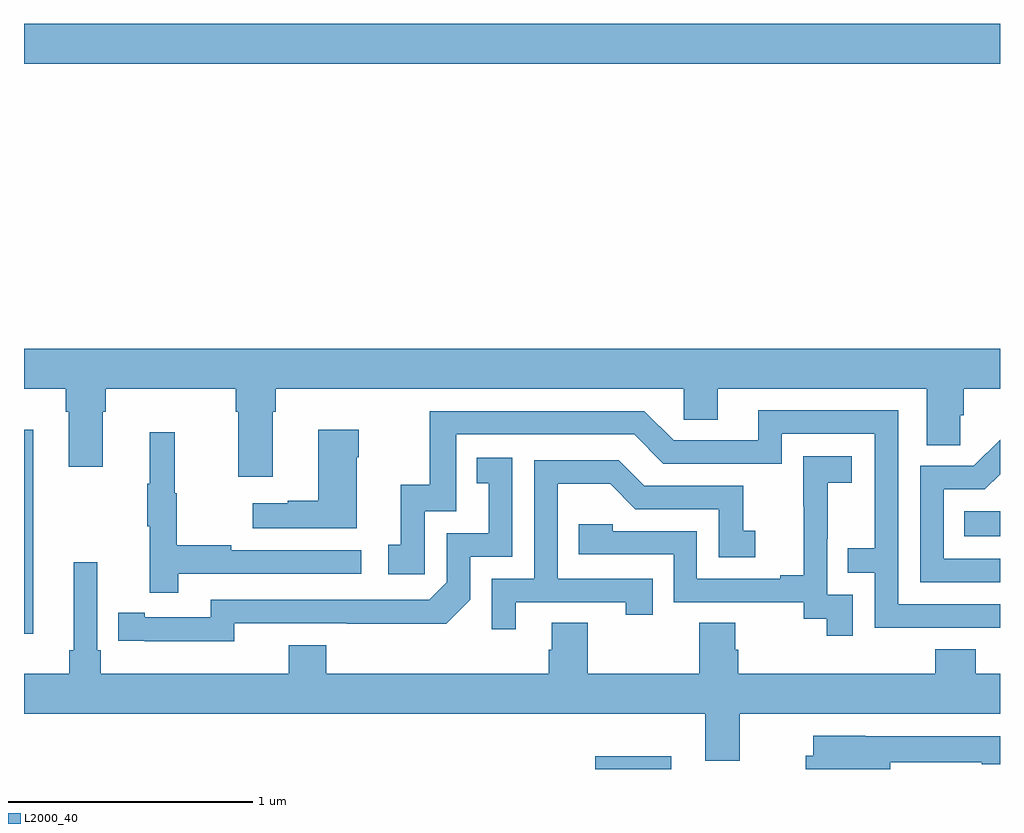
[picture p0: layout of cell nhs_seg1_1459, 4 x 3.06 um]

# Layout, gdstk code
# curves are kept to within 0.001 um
import gdstk
lib = gdstk.Library(unit=1e-6, precision=1e-09)
def R(c, l, rs):  # rectangles x0, y0, x1, y1
    for r in rs: c.add(gdstk.rectangle(r[:2], r[2:], *l))
def P(c, l, *ps):  # polygons
    for p in ps: c.add(gdstk.Polygon(p, *l))
L2000_40 = (2000, 40)

nhs_seg1_1459 = lib.new_cell('nhs_seg1_1459')
R(nhs_seg1_1459, L2000_40, [(193.341,522.199,193.653,522.253), (191,522.756,191.038,523.591), (194.854,523.154,195,523.258), (191,525.092,195,525.256)])
P(nhs_seg1_1459, L2000_40, [(191,523.76),(191.171,523.76),(191.171,523.664),(191.183,523.664),(191.183,523.44),(191.323,523.44),(191.323,523.664),(191.336,523.664),(191.336,523.76),(191.867,523.76),(191.867,523.664),(191.879,523.664),(191.879,523.398),(192.019,523.398),(192.019,523.664),(192.032,523.664),(192.032,523.76),(193.704,523.76),(193.704,523.633),(193.843,523.633),(193.843,523.76),(194.699,523.76),(194.699,523.528),(194.838,523.528),(194.838,523.651),(194.852,523.651),(194.852,523.76),(195,523.76),(195,523.924),(191,523.924)],
  [(195,522.876),(194.583,522.876),(194.583,523.671),(194.009,523.671),(194.009,523.548),(193.662,523.548),(193.542,523.668),(192.663,523.668),(192.663,523.366),(192.545,523.366),(192.545,523.119),(192.492,523.119),(192.492,522.999),(192.642,522.999),(192.642,523.257),(192.771,523.257),(192.771,523.572),(193.5,523.572),(193.62,523.452),(194.106,523.452),(194.106,523.575),(194.487,523.575),(194.487,523.106),(194.377,523.106),(194.377,523.005),(194.487,523.005),(194.487,522.78),(195,522.779)],
  [(192.364,523.478),(192.372,523.478),(192.372,523.591),(192.206,523.591),(192.206,523.301),(192.08,523.301),(192.08,523.291),(191.937,523.291),(191.937,523.187),(192.364,523.187)],
  [(191.633,523.002),(192.382,523.002),(192.382,523.098),(191.849,523.098),(191.849,523.118),(191.626,523.118),(191.626,523.332),(191.618,523.332),(191.618,523.582),(191.516,523.582),(191.516,523.369),(191.505,523.369),(191.505,523.195),(191.516,523.195),(191.516,522.924),(191.633,522.924)],
  [(195,523.062),(194.769,523.062),(194.769,523.347),(194.938,523.347),(195,523.409),(195,523.551),(194.892,523.443),(194.673,523.443),(194.673,522.966),(195,522.966)],
  [(194.397,522.915),(194.292,522.915),(194.292,523.145),(194.294,523.145),(194.294,523.373),(194.392,523.373),(194.392,523.483),(194.194,523.483),(194.194,523.277),(194.195,523.277),(194.195,522.994),(194.099,522.994),(194.099,522.981),(193.758,522.981),(193.758,523.176),(193.413,523.176),(193.413,523.203),(193.273,523.203),(193.273,523.08),(193.662,523.08),(193.662,522.885),(194.196,522.885),(194.196,522.817),(194.289,522.817),(194.289,522.746),(194.397,522.746)],
  [(191.862,522.798),(192.73,522.797),(192.828,522.894),(192.828,523.071),(193.002,523.071),(193.002,523.477),(192.856,523.477),(192.856,523.371),(192.905,523.371),(192.905,523.167),(192.732,523.167),(192.732,522.966),(192.66,522.894),(191.766,522.894),(191.766,522.822),(191.494,522.822),(191.494,522.842),(191.386,522.842),(191.386,522.726),(191.862,522.725)],
  [(193.015,522.885),(193.466,522.885),(193.466,522.834),(193.577,522.834),(193.577,522.981),(193.188,522.981),(193.188,523.37),(193.402,523.37),(193.506,523.266),(193.848,523.266),(193.848,523.068),(193.996,523.068),(193.996,523.177),(193.947,523.177),(193.947,523.362),(193.543,523.362),(193.438,523.467),(193.092,523.467),(193.092,522.981),(192.918,522.981),(192.918,522.774),(193.015,522.774)],
  [(193.793,522.234),(193.933,522.234),(193.933,522.428),(195,522.428),(195,522.592),(194.9,522.592),(194.9,522.691),(194.735,522.691),(194.735,522.592),(193.928,522.592),(193.928,522.69),(193.915,522.69),(193.915,522.8),(193.768,522.8),(193.768,522.592),(193.311,522.592),(193.311,522.8),(193.163,522.8),(193.163,522.69),(193.151,522.69),(193.151,522.592),(192.239,522.592),(192.239,522.709),(192.086,522.709),(192.086,522.592),(191.315,522.592),(191.315,522.688),(191.301,522.688),(191.301,523.048),(191.204,523.048),(191.204,522.688),(191.185,522.688),(191.185,522.592),(191,522.592),(191,522.428),(193.793,522.428)],
  [(194.551,522.228),(194.926,522.228),(194.926,522.22),(195,522.22),(195,522.336),(194.447,522.336),(194.447,522.337),(194.234,522.337),(194.234,522.256),(194.204,522.256),(194.204,522.199),(194.551,522.199)])

lib.write_gds('nhs_seg1_1459.gds')
